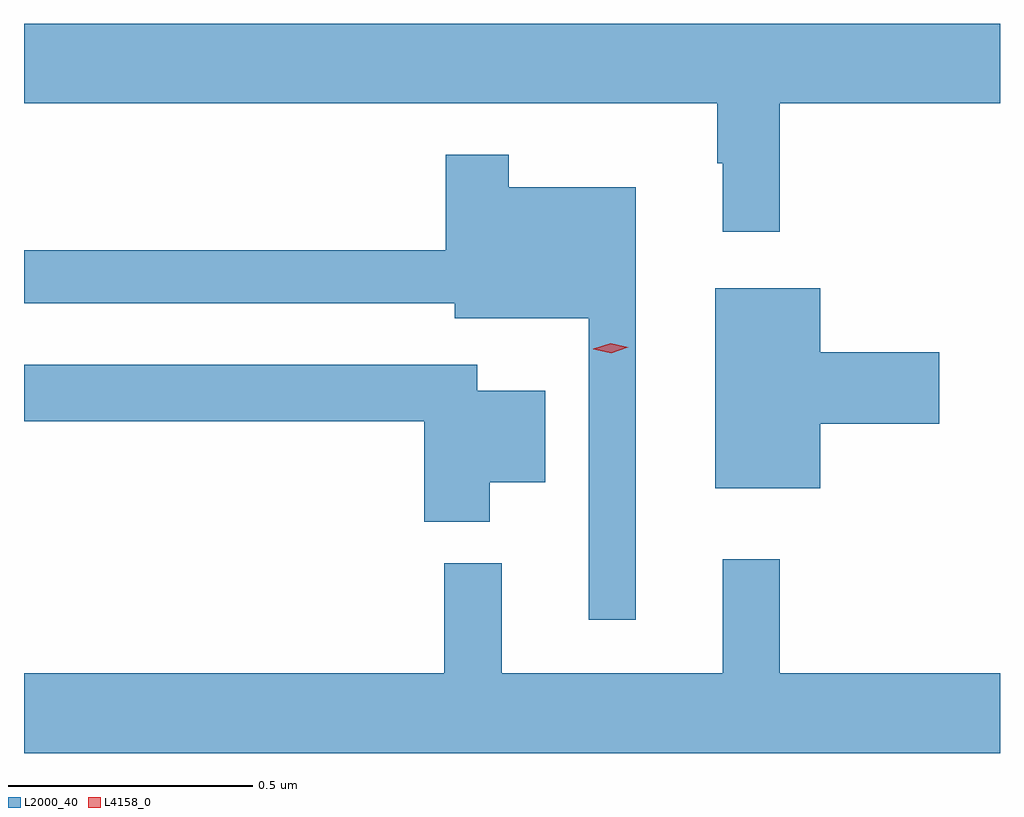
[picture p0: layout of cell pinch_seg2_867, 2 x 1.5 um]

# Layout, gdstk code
import gdstk
lib = gdstk.Library(unit=1e-6, precision=1e-09)
def P(c, l, *ps):  # polygons
    for p in ps: c.add(gdstk.Polygon(p, *l))
L2000_40 = (2000, 40)
L4158_0 = (4158, 0)

pinch_seg2_867 = lib.new_cell('pinch_seg2_867')
P(pinch_seg2_867, L2000_40, [(761.033,605.012),(761.484,605.012),(761.484,605.175),(759.484,605.175),(759.484,605.012),(760.905,605.012),(760.905,604.889),(760.916,604.889),(760.916,604.749),(761.033,604.749)],
  [(760.738,604.84),(760.477,604.84),(760.477,604.906),(760.348,604.906),(760.348,604.711),(759.484,604.711),(759.484,604.602),(760.367,604.602),(760.367,604.571),(760.641,604.571),(760.641,603.954),(760.738,603.954)],
  [(761.116,604.355),(761.359,604.355),(761.359,604.502),(761.116,604.502),(761.116,604.633),(760.901,604.633),(760.901,604.223),(761.116,604.223)],
  [(760.438,604.235),(760.552,604.235),(760.552,604.423),(760.413,604.423),(760.413,604.476),(759.484,604.476),(759.484,604.36),(760.304,604.36),(760.304,604.154),(760.438,604.154)],
  [(761.484,603.844),(761.033,603.844),(761.033,604.078),(760.916,604.078),(760.916,603.844),(760.463,603.844),(760.463,604.069),(760.345,604.069),(760.345,603.844),(759.484,603.844),(759.484,603.68),(761.484,603.68)])
P(pinch_seg2_867, L4158_0, [(760.687,604.5),(760.651,604.508),(760.651,604.508),(760.651,604.509),(760.686,604.52),(760.722,604.512),(760.722,604.512),(760.722,604.512)])

lib.write_gds('pinch_seg2_867.gds')
